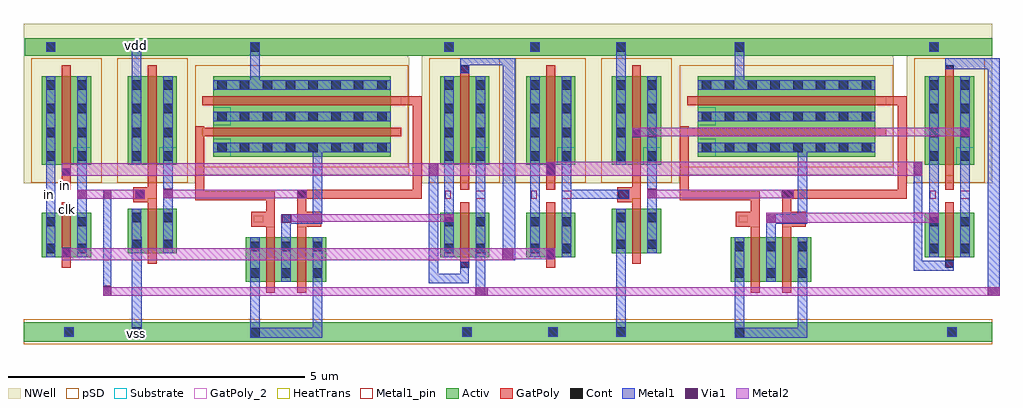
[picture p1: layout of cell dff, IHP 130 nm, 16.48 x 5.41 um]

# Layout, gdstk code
from math import pi, radians
import gdstk
lib = gdstk.Library(unit=1e-6, precision=5e-09)
def R(c, l, rs):  # rectangles x0, y0, x1, y1
    for r in rs: c.add(gdstk.rectangle(r[:2], r[2:], *l))
def A(c, l, x, y, w, h, nx, ny, dx, dy):  # array of equal rectangles
    R(c, l, [(x+i*dx, y+j*dy, x+i*dx+w, y+j*dy+h) for i in range(nx) for j in range(ny)])
Activ = (1, 0)
GatPoly = (5, 0)
GatPoly_2 = (5, 2)
Cont = (6, 0)
Metal1 = (8, 0)
Metal1_pin = (8, 2)
Metal2 = (10, 0)
pSD = (14, 0)
Via1 = (19, 0)
NWell = (31, 0)
Substrate = (40, 0)
HeatTrans = (51, 0)

nmos_5_2 = lib.new_cell('nmos$5$2')
R(nmos_5_2, Activ, [(0,0,0.3,0.3), (0,0,0.83,0.75), (0.53,0,0.83,0.3)])
R(nmos_5_2, GatPoly, [(0.34,-0.18,0.49,0.93)])
R(nmos_5_2, GatPoly_2, [(0.34,-0.18,0.49,0.93)])
R(nmos_5_2, Cont, [(0.07,0.07,0.23,0.23), (0.6,0.07,0.76,0.23), (0.07,0.52,0.23,0.68), (0.6,0.52,0.76,0.68)])
R(nmos_5_2, Metal1, [(0.07,0,0.23,0.75), (0.6,0,0.76,0.75)])
R(nmos_5_2, Metal1_pin, [(0.07,0,0.23,0.75), (0.6,0,0.76,0.75)])
R(nmos_5_2, HeatTrans, [(0.34,-0.18,0.49,0.93)])
nmos_5_2.add(gdstk.Label('nmos', (0.415,0.375), layer=63, texttype=0))
nmos_5_2.add(gdstk.Label('nmos', (0.415,0.375), layer=51, texttype=0))

pmos_5_1 = lib.new_cell('pmos$5$1')
R(pmos_5_1, Activ, [(0,0,0.3,0.3), (0,0,0.83,3), (0.53,0,0.83,0.3)])
R(pmos_5_1, GatPoly, [(0.34,-0.18,0.49,3.18), (0.34,-0.18,0.49,3.18)])
A(pmos_5_1, Cont, 0.07, 0.07, 0.16, 0.16, 1, 7, 0, 0.385)
A(pmos_5_1, Cont, 0.6, 0.07, 0.16, 0.16, 1, 7, 0, 0.385)
R(pmos_5_1, Cont, [(0.07,2.77,0.23,2.93), (0.6,2.77,0.76,2.93)])
R(pmos_5_1, Metal1, [(0.07,0,0.23,3), (0.07,0,0.23,3), (0.6,0,0.76,3), (0.6,0,0.76,3)])
R(pmos_5_1, pSD, [(-0.18,-0.3,1.01,3.3)])
R(pmos_5_1, NWell, [(-0.31,-0.31,1.14,3.31)])
R(pmos_5_1, Substrate, [(0.53,0,0.83,0.3)])
R(pmos_5_1, HeatTrans, [(0.34,-0.18,0.49,3.18)])
pmos_5_1.add(gdstk.Label('pmos', (0.415,1.5), layer=63, texttype=0))
pmos_5_1.add(gdstk.Label('pmos', (0.415,1.5), layer=51, texttype=0))

norgate_1 = lib.new_cell('norgate$1')
R(norgate_1, Activ, [(-1.47,-2.5,1.81,-2.17), (-1.35,2.325,1.935,2.625)])
R(norgate_1, GatPoly, [(-0.525,-0.56,-0.125,-0.31), (-0.275,-0.56,-0.125,-0.11), (0.255,-0.56,0.405,0.065), (0.255,-0.56,0.655,-0.31), (-1.47,-0.11,-0.125,0.04), (0.255,-0.085,2.355,0.065), (2.205,-0.085,2.355,1.645), (-1.47,0.04,-1.32,1.135), (-1.47,0.965,-1.35,1.135), (2.01,1.495,2.355,1.645)])
R(norgate_1, GatPoly_2, [(0.47,-0.49,0.6,-0.37), (-0.48,-0.485,-0.325,-0.375)])
R(norgate_1, Cont, [(-0.545,-2.43,-0.385,-2.27), (-0.545,2.395,-0.385,2.555)])
R(norgate_1, Metal1, [(-0.545,-2.43,-0.385,-0.74), (-0.545,-2.43,0.675,-2.265), (0.515,-2.43,0.675,-0.74), (-0.015,-0.74,0.145,-0.36), (-0.015,-0.505,0.675,-0.345), (0.515,-0.49,0.675,0.695), (-0.545,1.755,-0.385,2.555)])
R(norgate_1, Metal1_pin, [(-0.545,-2.43,-0.385,-2.265), (-0.01,-0.49,0.15,-0.345), (-0.545,2.395,-0.385,2.555)])
R(norgate_1, pSD, [(-1.47,-2.54,1.81,-2.125)])
R(norgate_1, NWell, [(-1.47,2.295,2.13,2.865)])
norgate_1.add(gdstk.Reference(nmos_5_2, (0.745,-0.74), rotation=pi))
norgate_1.add(gdstk.Reference(nmos_5_2, (-0.615,-1.49)))
norgate_1.add(gdstk.Reference(pmos_5_1, (-1.17,1.985), rotation=3*pi/2))
norgate_1.add(gdstk.Reference(pmos_5_1, (-1.17,1.455), rotation=3*pi/2))
norgate_1.add(gdstk.Label('vss', (-0.485,-2.335), layer=8, texttype=2))
norgate_1.add(gdstk.Label('vdd', (-0.475,2.5), layer=8, texttype=2))
norgate_1.add(gdstk.Label('out', (0.07,-0.41), layer=8, texttype=2))
norgate_1.add(gdstk.Label('b', (-0.42,-0.435), layer=5, texttype=2))
norgate_1.add(gdstk.Label('a', (0.52,-0.44), layer=5, texttype=2))

nmos_5_1 = lib.new_cell('nmos$5$1')
R(nmos_5_1, Activ, [(0,0,0.3,0.3), (0,0,0.83,0.75), (0.53,0,0.83,0.3)])
R(nmos_5_1, GatPoly, [(0.34,-0.18,0.49,0.93)])
R(nmos_5_1, GatPoly_2, [(0.34,-0.18,0.49,0.93)])
R(nmos_5_1, Cont, [(0.07,0.07,0.23,0.23), (0.6,0.07,0.76,0.23), (0.07,0.52,0.23,0.68), (0.6,0.52,0.76,0.68)])
R(nmos_5_1, Metal1, [(0.07,0,0.23,0.75), (0.6,0,0.76,0.75)])
R(nmos_5_1, Metal1_pin, [(0.07,0,0.23,0.75), (0.6,0,0.76,0.75)])
R(nmos_5_1, HeatTrans, [(0.34,-0.18,0.49,0.93)])
nmos_5_1.add(gdstk.Label('nmos', (0.415,0.375), layer=63, texttype=0))
nmos_5_1.add(gdstk.Label('nmos', (0.415,0.375), layer=51, texttype=0))

pmos = lib.new_cell('pmos')
R(pmos, Activ, [(0,0,0.3,0.3), (0,0,0.83,1.5), (0.53,0,0.83,0.3)])
R(pmos, GatPoly, [(0.34,-0.18,0.49,1.68), (0.34,-0.18,0.49,1.68)])
A(pmos, Cont, 0.07, 0.07, 0.16, 0.16, 1, 4, 0, 0.4)
A(pmos, Cont, 0.6, 0.07, 0.16, 0.16, 1, 4, 0, 0.4)
R(pmos, Metal1, [(0.07,0,0.23,1.5), (0.07,0,0.23,1.5), (0.6,0,0.76,1.5), (0.6,0,0.76,1.5)])
R(pmos, pSD, [(-0.18,-0.3,1.01,1.8)])
R(pmos, NWell, [(-0.31,-0.31,1.14,1.81)])
R(pmos, Substrate, [(0.53,0,0.83,0.3)])
R(pmos, HeatTrans, [(0.34,-0.18,0.49,1.68)])
pmos.add(gdstk.Label('pmos', (0.415,0.75), layer=63, texttype=0))
pmos.add(gdstk.Label('pmos', (0.415,0.75), layer=51, texttype=0))

transmissiongate = lib.new_cell('transmissiongate')
R(transmissiongate, Activ, [(2.295,-2.62,3.745,-2.29), (2.315,2.205,3.745,2.505)])
R(transmissiongate, GatPoly, [(2.945,-0.055,3.095,0.185)])
R(transmissiongate, GatPoly_2, [(2.98,-0.43,3.09,-0.27), (2.96,-0.055,3.08,0.105)])
R(transmissiongate, Cont, [(2.98,-2.54,3.14,-2.38), (2.675,2.275,2.835,2.435)])
R(transmissiongate, Metal1, [(2.98,-2.54,3.14,-2.38), (2.98,-2.54,3.14,-2.38), (2.675,-0.445,2.835,-0.21), (3.205,-0.445,3.365,-0.21), (2.675,-0.21,2.835,0.365), (3.205,-0.21,3.365,0.365), (2.675,2.275,2.835,2.435)])
R(transmissiongate, Metal1_pin, [(2.98,-2.54,3.14,-2.38), (2.69,-0.21,2.785,-0.07), (3.205,-0.21,3.365,-0.07), (2.675,2.275,2.835,2.435)])
R(transmissiongate, pSD, [(2.295,-2.66,3.745,-2.245)])
R(transmissiongate, NWell, [(2.295,2.175,3.745,2.745)])
transmissiongate.add(gdstk.Reference(nmos_5_1, (2.605,-1.195)))
transmissiongate.add(gdstk.Reference(pmos, (2.605,0.365)))
transmissiongate.add(gdstk.Label('vdd', (2.745,2.38), layer=8, texttype=2))
transmissiongate.add(gdstk.Label('vss', (3.055,-2.46), layer=8, texttype=2))
transmissiongate.add(gdstk.Label('out', (3.285,-0.14), layer=8, texttype=2))
transmissiongate.add(gdstk.Label('in', (2.73,-0.14), layer=8, texttype=2))
transmissiongate.add(gdstk.Label('en', (3.015,-0.355), layer=5, texttype=2))
transmissiongate.add(gdstk.Label('noten', (3.025,0.02), layer=5, texttype=2))

nmos = lib.new_cell('nmos')
R(nmos, Activ, [(0,0,0.3,0.3), (0,0,0.83,0.75), (0.53,0,0.83,0.3)])
R(nmos, GatPoly, [(0.34,-0.18,0.49,0.93)])
R(nmos, GatPoly_2, [(0.34,-0.18,0.49,0.93)])
R(nmos, Cont, [(0.07,0.07,0.23,0.23), (0.6,0.07,0.76,0.23), (0.07,0.52,0.23,0.68), (0.6,0.52,0.76,0.68)])
R(nmos, Metal1, [(0.07,0,0.23,0.75), (0.6,0,0.76,0.75)])
R(nmos, Metal1_pin, [(0.07,0,0.23,0.75), (0.6,0,0.76,0.75)])
R(nmos, HeatTrans, [(0.34,-0.18,0.49,0.93)])
nmos.add(gdstk.Label('nmos', (0.415,0.375), layer=63, texttype=0))
nmos.add(gdstk.Label('nmos', (0.415,0.375), layer=51, texttype=0))

pmos_1 = lib.new_cell('pmos$1')
R(pmos_1, Activ, [(0,0,0.3,0.3), (0,0,0.83,1.5), (0.53,0,0.83,0.3)])
R(pmos_1, GatPoly, [(0.34,-0.18,0.49,1.68), (0.34,-0.18,0.49,1.68)])
A(pmos_1, Cont, 0.07, 0.07, 0.16, 0.16, 1, 4, 0, 0.4)
A(pmos_1, Cont, 0.6, 0.07, 0.16, 0.16, 1, 4, 0, 0.4)
R(pmos_1, Metal1, [(0.07,0,0.23,1.5), (0.07,0,0.23,1.5), (0.6,0,0.76,1.5), (0.6,0,0.76,1.5)])
R(pmos_1, pSD, [(-0.18,-0.3,1.01,1.8)])
R(pmos_1, NWell, [(-0.31,-0.31,1.14,1.81)])
R(pmos_1, Substrate, [(0.53,0,0.83,0.3)])
R(pmos_1, HeatTrans, [(0.34,-0.18,0.49,1.68)])
pmos_1.add(gdstk.Label('pmos', (0.415,0.75), layer=63, texttype=0))
pmos_1.add(gdstk.Label('pmos', (0.415,0.75), layer=51, texttype=0))

inverter = lib.new_cell('inverter')
R(inverter, Activ, [(-0.845,-2.62,0.395,-2.29), (-0.795,2.205,0.285,2.505)])
R(inverter, GatPoly, [(-0.525,-0.265,-0.275,-0.015), (-0.275,-0.195,-0.125,0.185)])
R(inverter, GatPoly_2, [(-0.485,-0.215,-0.325,-0.055)])
R(inverter, Cont, [(-0.545,-2.535,-0.385,-2.375), (-0.545,-2.535,-0.385,-2.375), (-0.545,2.275,-0.385,2.435)])
R(inverter, Metal1, [(-0.545,-2.535,-0.38,-0.845), (-0.015,-0.375,0.145,0.365), (-0.545,1.865,-0.385,2.435)])
R(inverter, Metal1_pin, [(-0.015,-0.195,0.145,-0.035)])
R(inverter, pSD, [(-0.925,-2.66,0.525,-2.245)])
R(inverter, NWell, [(-0.925,2.175,0.525,2.745)])
inverter.add(gdstk.Reference(nmos, (-0.615,-1.125)))
inverter.add(gdstk.Reference(pmos_1, (-0.615,0.365)))
inverter.add(gdstk.Label('vss', (-0.475,-2.43), layer=8, texttype=2))
inverter.add(gdstk.Label('vdd', (-0.465,2.355), layer=8, texttype=2))
inverter.add(gdstk.Label('out', (0.06,-0.09), layer=8, texttype=2))
inverter.add(gdstk.Label('in', (-0.45,-0.11), layer=5, texttype=2))

dff = lib.new_cell('dff')
R(dff, Activ, [(-1.81,-2.62,14.55,-2.29), (-1.79,2.205,14.55,2.505)])
R(dff, GatPoly_2, [(-1.16,-0.43,-1.015,-0.265)])
R(dff, Cont, [(13.75,-1.375,13.9,-1.25), (13.75,-1.375,13.9,-1.24), (5.565,-1.37,5.715,-1.275), (7.015,-1.225,7.165,-1.06), (-1.16,-1.175,-1.01,-1.03), (0.08,-0.21,0.24,-0.055), (8.235,-0.21,8.415,-0.055), (2.82,-0.195,2.97,-0.055), (10.99,-0.195,11.195,-0.055), (-1.16,0.185,-1.01,0.31), (7.035,0.185,7.165,0.395), (8.465,0.83,8.615,0.965), (5.565,1.915,5.715,2.045), (13.75,1.98,13.9,2.045)])
R(dff, Metal1, [(-0.465,-1.845,-0.33,-0.055), (5.825,-1.845,5.99,-1.195), (14.47,-1.845,14.67,2.165), (5.035,-1.63,5.195,-1.38), (5.035,-1.63,5.71,-1.47), (5.565,-1.47,5.71,-1.27), (13.22,-1.425,13.365,0.415), (13.365,-1.425,13.9,-1.255), (5.035,-1.38,5.195,0.395), (6.28,-1.245,6.495,2.165), (7.015,-1.225,7.165,-1.06), (-1.16,-1.185,-1.01,-1.03), (0.075,-0.21,0.24,-0.055), (7.275,-0.21,8.415,-0.055), (-1.16,0.185,-1.01,0.31), (-1.16,0.185,-1.01,0.31), (5.04,0.185,5.195,0.395), (7.025,0.185,7.165,0.395), (8.465,0.835,8.615,0.965), (14.02,0.845,14.17,0.99), (5.565,1.91,5.715,2.045), (13.75,1.98,14.67,2.165), (5.565,2.045,6.495,2.165)])
R(dff, Metal1_pin, [(0.02,-2.535,0.185,-2.375), (-1.415,-0.21,-1.32,-0.07), (0.02,2.28,0.18,2.435)])
R(dff, Metal2, [(-0.465,-1.845,6.025,-1.705), (5.815,-1.845,14.67,-1.705), (-1.16,-1.245,6.46,-1.04), (6.275,-1.23,7.165,-1.04), (10.735,-0.61,13.64,-0.445), (2.71,-0.595,5.455,-0.465), (-0.9,-0.21,0.24,-0.055), (0.55,-0.195,2.97,-0.055), (8.725,-0.195,11.195,-0.055), (-1.16,0.185,5.195,0.395), (5.045,0.185,7.165,0.395), (7.015,0.185,13.365,0.415), (8.465,0.845,14.17,0.99)])
R(dff, pSD, [(-1.81,-2.66,14.55,-2.245)])
R(dff, Via1, [(-0.465,-1.845,-0.33,-1.675), (5.82,-1.845,6.025,-1.705), (14.47,-1.845,14.67,-1.705), (6.275,-1.245,6.46,-1.04), (7.015,-1.225,7.165,-1.06), (-1.16,-1.18,-1.01,-1.04), (2.55,-0.61,2.71,-0.465), (10.735,-0.61,10.895,-0.465), (13.485,-0.61,13.64,-0.445), (5.295,-0.595,5.455,-0.465), (-0.9,-0.21,-0.74,-0.07), (-0.455,-0.21,-0.33,-0.055), (0.075,-0.21,0.24,-0.055), (0.55,-0.195,0.71,-0.035), (2.815,-0.195,2.97,-0.055), (8.725,-0.195,8.885,-0.035), (11,-0.195,11.195,-0.055), (-1.16,0.185,-1.01,0.31), (5.04,0.185,5.195,0.395), (7.015,0.185,7.165,0.4), (13.23,0.19,13.365,0.415), (8.465,0.84,8.615,0.97), (14.02,0.845,14.17,0.99)])
R(dff, NWell, [(-1.81,2.205,14.55,2.745)])
dff.add(gdstk.Reference(norgate_1, (2.56,-0.12)))
dff.add(gdstk.Reference(transmissiongate, (10.805,0)))
dff.add(gdstk.Reference(inverter, (0.565,0)))
dff.add(gdstk.Reference(transmissiongate, (2.62,0)))
dff.add(gdstk.Reference(transmissiongate, (4.07,0)))
dff.add(gdstk.Reference(inverter, (8.74,0)))
dff.add(gdstk.Reference(norgate_1, (10.745,-0.12)))
dff.add(gdstk.Reference(transmissiongate, (-4.105,0)))
dff.add(gdstk.Label('in', (-1.095,0.015), layer=5, texttype=0))
dff.add(gdstk.Label('vdd', (0.09,2.38), layer=8, texttype=2))
dff.add(gdstk.Label('vss', (0.1,-2.48), layer=8, texttype=2))
dff.add(gdstk.Label('in', (-1.37,-0.14), layer=8, texttype=2))
dff.add(gdstk.Label('clk', (-1.07,-0.39), layer=5, texttype=2))

lib.write_gds('dff.gds')
